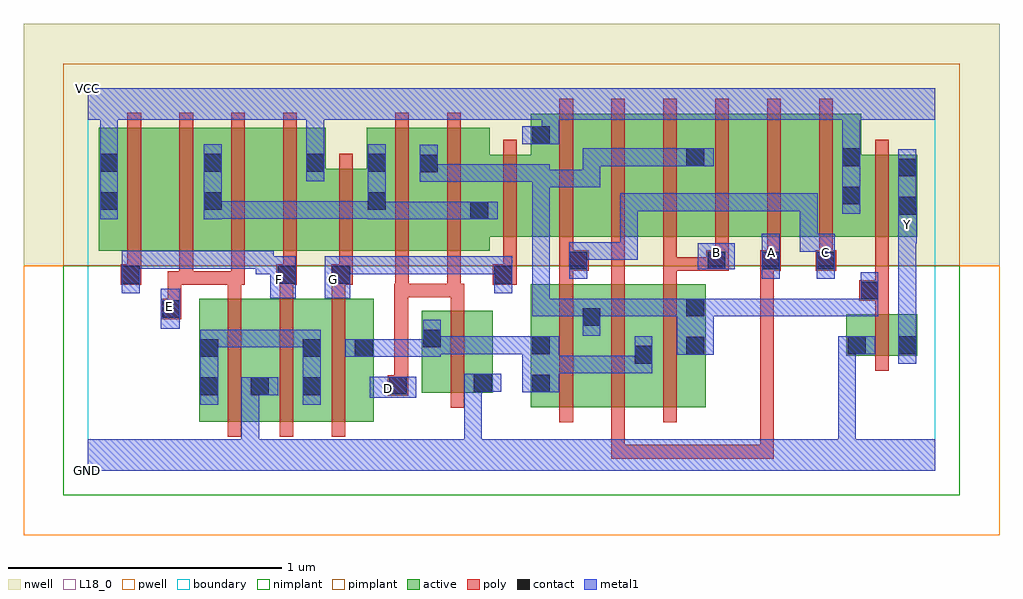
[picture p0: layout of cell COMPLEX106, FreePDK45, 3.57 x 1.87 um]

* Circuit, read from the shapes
.subckt COMPLEX106 A B C D E F G GND VCC Y
M1 GND E n1 VSUBS nfet w=0.45u l=0.05u
M2 n1 F GND VSUBS nfet w=0.45u l=0.05u
M3 n2 G n1 VSUBS nfet w=0.45u l=0.05u
M4 GND D n2 VSUBS nfet w=0.3u l=0.05u
M5 n3 C n2 VSUBS nfet w=0.45u l=0.05u
M6 n2 A n3 VSUBS nfet w=0.45u l=0.05u
M7 n3 B n2 VSUBS nfet w=0.45u l=0.05u
M8 Y n3 GND VSUBS nfet w=0.15u l=0.05u
M9 n4 F VCC n5 pfet w=0.45u l=0.05u
M10 n6 E n4 n5 pfet w=0.45u l=0.05u
M11 n7 E n6 n5 pfet w=0.45u l=0.05u
M12 VCC F n7 n5 pfet w=0.45u l=0.05u
M13 n6 G VCC n5 pfet w=0.3u l=0.05u m=2
M14 n3 D n6 n5 pfet w=0.45u l=0.05u m=2
M15 n8 C VCC n5 pfet w=0.45u l=0.05u
M16 n9 A n8 n5 pfet w=0.45u l=0.05u
M17 n3 B n9 n5 pfet w=0.45u l=0.05u
M18 n10 B n3 n5 pfet w=0.45u l=0.05u
M19 n11 A n10 n5 pfet w=0.45u l=0.05u
M20 VCC C n11 n5 pfet w=0.45u l=0.05u
M21 Y n3 VCC n5 pfet w=0.3u l=0.05u
.ends

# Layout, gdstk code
import gdstk
lib = gdstk.Library(unit=1e-6, precision=1e-09)
def R(c, l, rs):  # rectangles x0, y0, x1, y1
    for r in rs: c.add(gdstk.rectangle(r[:2], r[2:], *l))
def A(c, l, x, y, w, h, nx, ny, dx, dy):  # array of equal rectangles
    R(c, l, [(x+i*dx, y+j*dy, x+i*dx+w, y+j*dy+h) for i in range(nx) for j in range(ny)])
active = (1, 0)
pwell = (2, 0)
nwell = (3, 0)
nimplant = (4, 0)
pimplant = (5, 0)
poly = (9, 0)
contact = (10, 0)
metal1 = (11, 0)
L18_0 = (18, 0)
boundary = (235, 0)

complex106 = lib.new_cell('COMPLEX106')
R(complex106, active, [(0.407,0.18,0.667,0.63), (0.592,0.18,0.857,0.63), (0.592,0.18,0.667,0.547), (0.782,0.18,1.047,0.63), (0.407,0.232,0.482,0.63), (1.62,0.232,1.88,0.682), (1.62,0.232,1.695,0.682), (1.805,0.232,2.07,0.682), (1.995,0.232,2.26,0.682), (0.782,0.245,0.857,0.547), (0.972,0.245,1.047,0.63), (1.805,0.245,1.88,0.6), (1.995,0.245,2.07,0.587), (2.185,0.245,2.26,0.682), (1.222,0.285,1.482,0.585), (1.222,0.285,1.297,0.585), (1.407,0.285,1.482,0.392), (2.775,0.422,2.85,0.572), (2.775,0.422,3.035,0.572), (2.96,0.422,3.035,0.572), (0.04,0.805,0.115,1.255), (0.04,0.805,0.265,1.255), (0.265,0.805,0.495,1.255), (0.42,0.805,0.645,1.255), (0.645,0.805,0.87,1.255), (0.795,0.805,1.095,1.105), (1.02,0.805,1.285,1.255), (1.21,0.805,1.47,1.255), (1.21,0.805,1.285,1.2), (0.42,0.857,0.495,1.2), (1.395,0.857,1.695,1.157), (1.62,0.857,1.845,1.307), (1.845,0.857,2.035,1.307), (2.035,0.857,2.26,1.307), (2.185,0.857,2.415,1.307), (2.185,0.857,2.26,1.2), (2.415,0.857,2.605,1.307), (2.605,0.857,2.83,1.307), (2.755,0.857,2.83,1.307), (2.755,0.857,3.035,1.157), (2.96,0.857,3.035,1.157), (1.395,0.915,1.47,1.07), (1.02,0.95,1.095,1.2), (1.62,0.995,1.695,1.307), (0.795,1.007,0.87,1.165)])
R(complex106, pwell, [(-0.235,-0.235,3.335,0.75)])
R(complex106, nwell, [(-0.235,0.75,3.335,1.635)])
R(complex106, nimplant, [(-0.09,-0.09,3.19,0.75)])
R(complex106, pimplant, [(-0.09,0.75,3.19,1.49)])
A(complex106, poly, 0.512, 0.125, 0.05, 0.56, 3, 1, 0.19, 0)
A(complex106, poly, 1.725, 0.177, 0.05, 0.56, 3, 1, 0.19, 0)
A(complex106, poly, 0.512, 0.635, 0.05, 0.095, 3, 1, 0.19, 0)
A(complex106, poly, 0.145, 0.75, 0.05, 0.56, 4, 1, 0.19, 0)
A(complex106, poly, 2.295, 0.757, 0.05, 0.095, 3, 1, 0.19, 0)
A(complex106, poly, 1.725, 0.802, 0.05, 0.56, 6, 1, 0.19, 0)
R(complex106, poly, [(1.915,0.045,1.965,0.095), (1.915,0.045,1.965,0.095), (1.915,0.045,1.965,0.095), (1.915,0.045,2.18,0.095), (1.915,0.045,1.965,0.227), (2.13,0.045,2.18,0.095), (2.13,0.045,2.18,0.095), (2.13,0.045,2.18,0.095), (2.13,0.045,2.377,0.095), (2.327,0.045,2.377,0.095), (2.327,0.045,2.377,0.095), (2.327,0.045,2.377,0.095), (2.327,0.045,2.377,0.095), (2.327,0.045,2.377,0.095), (2.327,0.045,2.51,0.095), (2.46,0.045,2.51,0.095), (2.46,0.045,2.51,0.095), (2.46,0.045,2.51,0.095), (2.46,0.045,2.51,0.782), (1.327,0.23,1.377,0.64), (1.097,0.275,1.172,0.35), (1.122,0.3,1.172,0.685), (2.88,0.367,2.93,0.627), (0.267,0.555,0.342,0.63), (2.88,0.577,2.93,0.672), (0.292,0.58,0.342,0.73), (1.327,0.59,1.377,0.685), (2.822,0.622,2.93,0.697), (1.122,0.635,1.172,0.685), (1.122,0.635,1.172,0.685), (1.122,0.635,1.175,0.685), (1.125,0.635,1.175,0.8), (1.125,0.635,1.365,0.685), (1.315,0.635,1.365,0.685), (1.315,0.635,1.365,0.685), (1.315,0.635,1.365,0.8), (1.315,0.635,1.377,0.685), (2.88,0.647,2.93,0.852), (0.12,0.68,0.195,0.755), (0.292,0.68,0.357,0.73), (0.307,0.68,0.357,0.73), (0.307,0.68,0.385,0.73), (0.335,0.68,0.385,0.8), (0.335,0.68,0.562,0.73), (0.512,0.68,0.562,0.73), (0.512,0.68,0.562,0.73), (0.512,0.68,0.575,0.73), (0.525,0.68,0.575,0.8), (0.69,0.68,0.765,0.755), (0.89,0.68,0.97,0.755), (1.482,0.68,1.57,0.755), (1.725,0.687,1.775,0.782), (1.915,0.687,1.965,0.807), (2.105,0.687,2.155,0.782), (0.145,0.705,0.195,0.8), (0.715,0.705,0.765,0.8), (0.92,0.705,0.97,0.8), (1.52,0.705,1.57,0.852), (1.725,0.732,1.832,0.807), (2.105,0.732,2.155,0.782), (2.105,0.732,2.155,0.782), (2.105,0.732,2.155,0.782), (2.105,0.732,2.312,0.782), (2.105,0.732,2.155,0.852), (2.262,0.732,2.345,0.807), (2.46,0.732,2.535,0.807), (2.46,0.732,2.51,0.782), (2.46,0.732,2.51,0.782), (2.46,0.732,2.51,0.782), (2.46,0.732,2.51,0.782), (2.662,0.732,2.737,0.807), (0.92,0.75,0.97,1.16), (1.125,0.75,1.175,1.31), (1.315,0.75,1.365,1.31), (1.725,0.757,1.775,0.852), (1.915,0.757,1.965,0.852), (1.915,0.757,1.965,0.807), (1.52,0.802,1.57,1.212), (2.88,0.802,2.93,1.212)])
R(complex106, contact, [(0.412,0.277,0.477,0.342), (0.597,0.277,0.662,0.342), (0.787,0.277,0.852,0.342), (1.102,0.28,1.167,0.345), (1.625,0.287,1.69,0.352), (1.412,0.29,1.477,0.355), (2,0.392,2.065,0.457), (0.412,0.417,0.477,0.482), (0.787,0.417,0.852,0.482), (0.977,0.417,1.042,0.482), (2.19,0.425,2.255,0.49), (1.625,0.427,1.69,0.492), (2.78,0.427,2.845,0.492), (2.965,0.427,3.03,0.492), (1.227,0.452,1.292,0.517), (1.81,0.53,1.875,0.595), (0.272,0.56,0.337,0.625), (2.19,0.565,2.255,0.63), (2.827,0.627,2.892,0.692), (0.125,0.685,0.19,0.75), (0.695,0.685,0.76,0.75), (0.895,0.685,0.96,0.75), (1.487,0.685,1.552,0.75), (1.762,0.737,1.827,0.802), (2.267,0.737,2.332,0.802), (2.465,0.737,2.53,0.802), (2.667,0.737,2.732,0.802), (1.4,0.92,1.465,0.985), (2.965,0.937,3.03,1.002), (0.045,0.955,0.11,1.02), (0.425,0.955,0.49,1.02), (1.025,0.955,1.09,1.02), (2.76,0.975,2.825,1.04), (2.965,1.077,3.03,1.142), (1.215,1.092,1.28,1.157), (0.045,1.095,0.11,1.16), (0.425,1.095,0.49,1.16), (0.8,1.095,0.865,1.16), (1.025,1.095,1.09,1.16), (2.19,1.115,2.255,1.18), (2.76,1.115,2.825,1.18), (1.625,1.195,1.69,1.26)])
R(complex106, metal1, [(0,0,3.1,0.115), (0.562,0.05,0.627,0.115), (0.562,0.05,0.627,0.115), (0.562,0.05,0.627,0.342), (1.377,0.05,1.442,0.115), (1.377,0.05,1.442,0.115), (1.377,0.05,1.442,0.115), (1.377,0.05,1.442,0.115), (1.377,0.05,1.442,0.355), (2.745,0.05,2.81,0.115), (2.745,0.05,2.81,0.115), (2.745,0.05,2.81,0.115), (2.745,0.05,2.81,0.115), (2.745,0.05,2.81,0.492), (0.412,0.242,0.477,0.517), (0.787,0.242,0.852,0.517), (1.032,0.267,1.202,0.345), (0.562,0.277,0.697,0.342), (1.59,0.287,1.725,0.492), (1.377,0.29,1.512,0.355), (1.66,0.357,1.862,0.422), (1.797,0.357,1.862,0.422), (1.797,0.357,1.862,0.422), (1.797,0.357,1.862,0.422), (1.797,0.357,2.012,0.422), (1.947,0.357,2.012,0.422), (1.947,0.357,2.065,0.422), (2,0.357,2.065,0.492), (2.965,0.392,3.03,0.527), (0.942,0.417,1.077,0.482), (1.012,0.417,1.142,0.482), (1.077,0.417,1.142,0.482), (1.077,0.417,1.292,0.482), (1.227,0.417,1.292,0.552), (2.155,0.425,2.29,0.63), (1.227,0.427,1.292,0.492), (1.227,0.427,1.292,0.492), (1.227,0.427,1.517,0.492), (1.452,0.427,1.517,0.492), (1.452,0.427,1.517,0.492), (1.452,0.427,1.517,0.492), (1.452,0.427,1.59,0.492), (1.525,0.427,1.59,0.492), (1.525,0.427,1.655,0.492), (2.745,0.427,2.81,0.492), (2.745,0.427,2.81,0.492), (2.745,0.427,2.88,0.492), (0.412,0.452,0.477,0.517), (0.412,0.452,0.477,0.517), (0.412,0.452,0.627,0.517), (0.562,0.452,0.627,0.517), (0.562,0.452,0.627,0.517), (0.562,0.452,0.627,0.517), (0.562,0.452,0.852,0.517), (2.965,0.462,3.03,0.897), (1.81,0.495,1.875,0.63), (0.267,0.52,0.337,0.667), (1.625,0.565,1.69,0.63), (1.625,0.565,1.875,0.63), (1.625,0.565,1.69,1.102), (1.81,0.565,1.875,0.63), (1.81,0.565,1.875,0.63), (1.81,0.565,2.012,0.63), (1.947,0.565,2.012,0.63), (1.947,0.565,2.012,0.63), (1.947,0.565,2.012,0.63), (1.947,0.565,2.15,0.63), (2.085,0.565,2.15,0.63), (2.085,0.565,2.22,0.63), (2.225,0.565,2.29,0.63), (2.225,0.565,2.29,0.63), (2.225,0.565,2.532,0.63), (2.467,0.565,2.532,0.63), (2.467,0.565,2.532,0.63), (2.467,0.565,2.532,0.63), (2.467,0.565,2.67,0.63), (2.605,0.565,2.67,0.63), (2.605,0.565,2.67,0.63), (2.605,0.565,2.67,0.63), (2.605,0.565,2.892,0.63), (2.827,0.565,2.892,0.63), (2.827,0.565,2.892,0.657), (2.827,0.592,2.892,0.657), (2.827,0.592,2.892,0.657), (2.827,0.592,2.892,0.727), (0.667,0.632,0.76,0.785), (0.867,0.632,0.96,0.785), (0.125,0.65,0.19,0.785), (1.487,0.65,1.552,0.785), (1.762,0.702,1.827,0.837), (2.465,0.702,2.532,0.867), (2.667,0.702,2.732,0.867), (0.125,0.72,0.19,0.785), (0.125,0.72,0.19,0.805), (0.615,0.72,0.68,0.805), (0.615,0.72,0.732,0.785), (0.895,0.72,0.96,0.785), (0.895,0.72,0.96,0.785), (0.895,0.72,1.097,0.785), (1.032,0.72,1.097,0.785), (1.032,0.72,1.292,0.785), (1.227,0.72,1.292,0.785), (1.227,0.72,1.292,0.785), (1.227,0.72,1.292,0.785), (1.227,0.72,1.517,0.785), (1.452,0.72,1.517,0.785), (1.452,0.72,1.552,0.785), (2.232,0.737,2.367,0.832), (0.125,0.74,0.327,0.805), (0.262,0.74,0.327,0.805), (0.262,0.74,0.327,0.805), (0.262,0.74,0.327,0.805), (0.262,0.74,0.465,0.805), (0.4,0.74,0.465,0.805), (0.4,0.74,0.68,0.805), (1.762,0.772,1.862,0.837), (1.797,0.772,1.862,0.837), (1.797,0.772,2.012,0.837), (1.947,0.772,2.012,0.837), (1.947,0.772,2.012,0.837), (1.947,0.772,2.012,0.837), (1.947,0.772,2.012,1.015), (2.605,0.802,2.67,0.867), (2.605,0.802,2.732,0.867), (2.605,0.802,2.67,1.015), (2.965,0.832,3.032,0.967), (2.965,0.902,3.03,0.967), (2.965,0.902,3.03,1.177), (0.045,0.92,0.11,1.195), (0.425,0.92,0.49,1.195), (1.025,0.92,1.09,1.195), (1.025,0.92,1.097,0.985), (1.032,0.92,1.097,0.985), (1.032,0.92,1.28,0.985), (1.215,0.92,1.28,0.985), (1.215,0.92,1.28,0.985), (1.215,0.92,1.28,0.985), (1.215,0.92,1.43,0.985), (1.365,0.92,1.5,0.985), (0.425,0.922,0.49,0.987), (0.425,0.922,0.49,0.987), (0.425,0.922,0.685,0.987), (0.62,0.922,0.685,0.987), (0.62,0.922,0.685,0.987), (0.62,0.922,0.685,0.987), (0.62,0.922,0.822,0.987), (0.757,0.922,0.822,0.987), (0.757,0.922,0.822,0.987), (0.757,0.922,0.822,0.987), (0.757,0.922,1.09,0.987), (2.76,0.94,2.825,1.215), (1.947,0.95,2.012,1.015), (1.947,0.95,2.152,1.015), (2.087,0.95,2.152,1.015), (2.087,0.95,2.152,1.015), (2.087,0.95,2.152,1.015), (2.087,0.95,2.29,1.015), (2.225,0.95,2.29,1.015), (2.225,0.95,2.427,1.015), (2.362,0.95,2.427,1.015), (2.362,0.95,2.427,1.015), (2.362,0.95,2.427,1.015), (2.362,0.95,2.67,1.015), (2.605,0.95,2.67,1.015), (1.625,1.037,1.69,1.102), (1.625,1.037,1.69,1.102), (1.625,1.037,1.69,1.102), (1.625,1.037,1.69,1.102), (1.625,1.037,1.875,1.102), (1.625,1.037,1.69,1.122), (1.81,1.037,1.875,1.102), (1.81,1.037,1.875,1.102), (1.81,1.037,1.875,1.102), (1.81,1.037,1.875,1.18), (1.215,1.057,1.28,1.122), (1.215,1.057,1.28,1.122), (1.215,1.057,1.28,1.192), (1.215,1.057,1.517,1.122), (1.452,1.057,1.517,1.122), (1.452,1.057,1.69,1.122), (1.625,1.057,1.69,1.122), (1.625,1.057,1.69,1.122), (0.8,1.06,0.865,1.195), (1.81,1.115,1.875,1.18), (1.81,1.115,2.012,1.18), (1.947,1.115,2.012,1.18), (1.947,1.115,2.012,1.18), (1.947,1.115,2.012,1.18), (1.947,1.115,2.15,1.18), (2.085,1.115,2.15,1.18), (2.085,1.115,2.22,1.18), (2.155,1.115,2.29,1.18), (0.045,1.13,0.11,1.35), (0.8,1.13,0.865,1.35), (2.76,1.15,2.825,1.35), (1.59,1.195,1.725,1.26), (1.66,1.195,1.725,1.35), (0,1.285,3.1,1.4)])
A(complex106, L18_0, 2.267, 0.767, 0.065, 0.065, 3, 1, 0.2, 0)
R(complex106, L18_0, [(0,0,3.1,0.115), (0.562,0.05,0.627,0.115), (0.562,0.05,0.627,0.115), (0.562,0.05,0.627,0.342), (1.377,0.05,1.442,0.115), (1.377,0.05,1.442,0.115), (1.377,0.05,1.442,0.115), (1.377,0.05,1.442,0.115), (1.377,0.05,1.442,0.355), (2.745,0.05,2.81,0.115), (2.745,0.05,2.81,0.115), (2.745,0.05,2.81,0.115), (2.745,0.05,2.81,0.115), (2.745,0.05,2.81,0.492), (1.032,0.267,1.202,0.345), (1.067,0.267,1.132,0.332), (0.562,0.277,0.697,0.342), (1.377,0.29,1.512,0.355), (2.965,0.392,3.03,0.527), (2.745,0.427,2.81,0.492), (2.745,0.427,2.81,0.492), (2.745,0.427,2.88,0.492), (2.965,0.462,3.03,0.897), (0.267,0.52,0.337,0.667), (0.267,0.567,0.332,0.632), (0.667,0.632,0.76,0.785), (0.867,0.632,0.96,0.785), (0.125,0.65,0.19,0.785), (1.487,0.65,1.552,0.785), (0.667,0.667,0.732,0.732), (0.867,0.667,0.932,0.732), (1.762,0.702,1.827,0.837), (2.465,0.702,2.532,0.867), (2.667,0.702,2.732,0.867), (0.125,0.72,0.19,0.805), (0.125,0.72,0.19,0.785), (0.615,0.72,0.68,0.805), (0.615,0.72,0.732,0.785), (0.895,0.72,0.96,0.785), (0.895,0.72,0.96,0.785), (0.895,0.72,1.097,0.785), (1.032,0.72,1.097,0.785), (1.032,0.72,1.292,0.785), (1.227,0.72,1.292,0.785), (1.227,0.72,1.292,0.785), (1.227,0.72,1.292,0.785), (1.227,0.72,1.517,0.785), (1.452,0.72,1.517,0.785), (1.452,0.72,1.552,0.785), (2.232,0.737,2.367,0.832), (0.125,0.74,0.327,0.805), (0.262,0.74,0.327,0.805), (0.262,0.74,0.327,0.805), (0.262,0.74,0.327,0.805), (0.262,0.74,0.465,0.805), (0.4,0.74,0.465,0.805), (0.4,0.74,0.68,0.805), (1.762,0.772,1.862,0.837), (1.797,0.772,1.862,0.837), (1.797,0.772,2.012,0.837), (1.947,0.772,2.012,0.837), (1.947,0.772,2.012,0.837), (1.947,0.772,2.012,0.837), (1.947,0.772,2.012,1.015), (2.605,0.802,2.67,0.867), (2.605,0.802,2.67,1.015), (2.605,0.802,2.732,0.867), (2.965,0.832,3.032,0.967), (2.967,0.867,3.032,0.932), (2.965,0.902,3.03,1.177), (2.965,0.902,3.03,0.967), (0.045,0.92,0.11,1.195), (2.76,0.94,2.825,1.215), (1.947,0.95,2.012,1.015), (1.947,0.95,2.152,1.015), (2.087,0.95,2.152,1.015), (2.087,0.95,2.152,1.015), (2.087,0.95,2.152,1.015), (2.087,0.95,2.29,1.015), (2.225,0.95,2.29,1.015), (2.225,0.95,2.427,1.015), (2.362,0.95,2.427,1.015), (2.362,0.95,2.427,1.015), (2.362,0.95,2.427,1.015), (2.362,0.95,2.67,1.015), (2.605,0.95,2.67,1.015), (0.8,1.06,0.865,1.195), (0.045,1.13,0.11,1.35), (0.8,1.13,0.865,1.35), (2.76,1.15,2.825,1.35), (1.59,1.195,1.725,1.26), (1.66,1.195,1.725,1.35), (0,1.285,3.1,1.4)])
R(complex106, boundary, [(0,0,3.1,1.4)])
complex106.add(gdstk.Label('A', (2.5,0.8), layer=11, texttype=0))
complex106.add(gdstk.Label('B', (2.3,0.8), layer=11, texttype=0))
complex106.add(gdstk.Label('C', (2.7,0.8), layer=11, texttype=0))
complex106.add(gdstk.Label('D', (1.1,0.3), layer=11, texttype=0))
complex106.add(gdstk.Label('E', (0.3,0.6), layer=11, texttype=0))
complex106.add(gdstk.Label('F', (0.7,0.7), layer=11, texttype=0))
complex106.add(gdstk.Label('G', (0.9,0.7), layer=11, texttype=0))
complex106.add(gdstk.Label('Y', (3,0.9), layer=11, texttype=0))
complex106.add(gdstk.Label('VCC', (0,1.4), layer=11, texttype=0))
complex106.add(gdstk.Label('GND', (0,0), layer=11, texttype=0))

lib.write_gds('COMPLEX106.gds')
